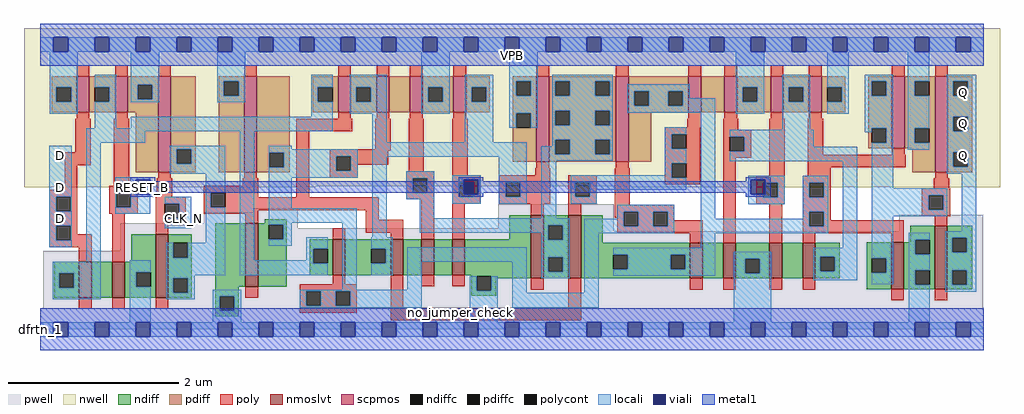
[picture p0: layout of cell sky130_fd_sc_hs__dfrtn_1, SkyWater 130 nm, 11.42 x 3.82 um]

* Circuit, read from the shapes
.subckt sky130_fd_sc_hs__dfrtn_1 CLK_N D RESET_B VGND VNB VPB VPWR Q
XM1 n1 D n2 VNB sky130_fd_pr__nfet_01v8_lvt w=0.42 l=0.15
XM2 VGND RESET_B n1 VNB sky130_fd_pr__nfet_01v8_lvt w=0.42 l=0.15
XM3 n3 CLK_N VGND VNB sky130_fd_pr__nfet_01v8_lvt w=0.74 l=0.15
XM4 n4 n3 VGND VNB sky130_fd_pr__nfet_01v8_lvt w=0.74 l=0.15
XM5 n5 n4 n2 VNB sky130_fd_pr__nfet_01v8_lvt w=0.42 l=0.15
XM6 n6 n3 n5 VNB sky130_fd_pr__nfet_01v8_lvt w=0.42 l=0.15
XM7 n7 n8 n6 VNB sky130_fd_pr__nfet_01v8_lvt w=0.42 l=0.15
XM8 VGND RESET_B n7 VNB sky130_fd_pr__nfet_01v8_lvt w=0.42 l=0.15
XM9 n8 n5 VGND VNB sky130_fd_pr__nfet_01v8_lvt w=0.74 l=0.15
XM10 n9 n3 n8 VNB sky130_fd_pr__nfet_01v8_lvt w=0.74 l=0.15
XM11 n10 n4 n9 VNB sky130_fd_pr__nfet_01v8_lvt w=0.42 l=0.15
XM12 VGND n11 n10 VNB sky130_fd_pr__nfet_01v8_lvt w=0.42 l=0.15
XM13 n12 RESET_B VGND VNB sky130_fd_pr__nfet_01v8_lvt w=0.42 l=0.15
XM14 n11 n9 n12 VNB sky130_fd_pr__nfet_01v8_lvt w=0.42 l=0.15
XM15 VGND n9 n13 VNB sky130_fd_pr__nfet_01v8_lvt w=0.55 l=0.15
XM16 Q n13 VGND VNB sky130_fd_pr__nfet_01v8_lvt w=0.74 l=0.15
XM17 n2 D VPWR VPB sky130_fd_pr__pfet_01v8 w=0.42 l=0.15
XM18 VPWR RESET_B n2 VPB sky130_fd_pr__pfet_01v8 w=0.42 l=0.15
XM19 n3 CLK_N VPWR VPB sky130_fd_pr__pfet_01v8 w=1.12 l=0.15
XM20 n4 n3 VPWR VPB sky130_fd_pr__pfet_01v8 w=1.12 l=0.15
XM21 n5 n3 n2 VPB sky130_fd_pr__pfet_01v8 w=0.42 l=0.15
XM22 n14 n4 n5 VPB sky130_fd_pr__pfet_01v8 w=0.42 l=0.15
XM23 VPWR n8 n14 VPB sky130_fd_pr__pfet_01v8 w=0.42 l=0.15
XM24 n5 RESET_B VPWR VPB sky130_fd_pr__pfet_01v8 w=0.42 l=0.15
XM25 n8 n5 VPWR VPB sky130_fd_pr__pfet_01v8 w=1 l=0.15
XM26 n9 n4 n8 VPB sky130_fd_pr__pfet_01v8 w=1 l=0.15
XM27 n15 n3 n9 VPB sky130_fd_pr__pfet_01v8 w=0.42 l=0.15
XM28 VPWR n11 n15 VPB sky130_fd_pr__pfet_01v8 w=0.42 l=0.15
XM29 n11 RESET_B VPWR VPB sky130_fd_pr__pfet_01v8 w=0.42 l=0.15
XM30 VPWR n9 n11 VPB sky130_fd_pr__pfet_01v8 w=0.42 l=0.15
XM31 VPWR n9 n13 VPB sky130_fd_pr__pfet_01v8 w=0.84 l=0.15
XM32 Q n13 VPWR VPB sky130_fd_pr__pfet_01v8 w=1.12 l=0.15
.ends

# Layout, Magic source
magic
tech sky130A
magscale 1 2
<< nwell >>
rect -38 335 2246 704
rect -38 332 645 335
rect 1384 332 2246 335
<< pwell >>
rect 499 274 603 283
rect 383 248 603 274
rect 187 237 603 248
rect 1072 237 1342 293
rect 187 229 1342 237
rect 2010 230 2207 268
rect 1908 229 2207 230
rect 187 184 2207 229
rect 7 49 2207 184
rect 0 0 2208 49
<< scpmos >>
rect 85 508 115 592
rect 175 508 205 592
rect 276 368 306 592
rect 477 368 507 592
rect 697 508 727 592
rect 787 508 817 592
rect 865 508 895 592
rect 967 508 997 592
rect 1161 392 1191 592
rect 1347 392 1377 592
rect 1517 508 1547 592
rect 1601 508 1631 592
rect 1709 508 1739 592
rect 1799 508 1829 592
rect 1993 424 2023 592
rect 2094 368 2124 592
<< nmoslvt >>
rect 90 74 120 158
rect 168 74 198 158
rect 270 74 300 222
rect 480 100 510 248
rect 684 127 714 211
rect 820 127 850 211
rect 892 127 922 211
rect 964 127 994 211
rect 1148 119 1178 267
rect 1236 119 1266 267
rect 1520 119 1550 203
rect 1598 119 1628 203
rect 1706 119 1736 203
rect 1784 119 1814 203
rect 1991 94 2021 204
rect 2093 94 2123 242
<< ndiff >>
rect 525 248 577 257
rect 213 158 270 222
rect 33 131 90 158
rect 33 97 45 131
rect 79 97 90 131
rect 33 74 90 97
rect 120 74 168 158
rect 198 133 270 158
rect 198 99 225 133
rect 259 99 270 133
rect 198 74 270 99
rect 300 202 355 222
rect 300 168 311 202
rect 345 168 355 202
rect 300 120 355 168
rect 300 86 311 120
rect 345 86 355 120
rect 300 74 355 86
rect 409 100 480 248
rect 510 245 577 248
rect 510 211 535 245
rect 569 211 577 245
rect 1098 211 1148 267
rect 510 100 577 211
rect 631 188 684 211
rect 631 154 639 188
rect 673 154 684 188
rect 631 127 684 154
rect 714 188 820 211
rect 714 154 775 188
rect 809 154 820 188
rect 714 127 820 154
rect 850 127 892 211
rect 922 127 964 211
rect 994 127 1148 211
rect 409 77 465 100
rect 409 43 420 77
rect 454 43 465 77
rect 409 31 465 43
rect 1009 124 1148 127
rect 1009 90 1021 124
rect 1055 119 1148 124
rect 1178 244 1236 267
rect 1178 210 1189 244
rect 1223 210 1236 244
rect 1178 169 1236 210
rect 1178 135 1189 169
rect 1223 135 1236 169
rect 1178 119 1236 135
rect 1266 203 1316 267
rect 2036 210 2093 242
rect 2036 204 2048 210
rect 1266 175 1520 203
rect 1266 141 1341 175
rect 1375 141 1475 175
rect 1509 141 1520 175
rect 1266 119 1520 141
rect 1550 119 1598 203
rect 1628 165 1706 203
rect 1628 131 1650 165
rect 1684 131 1706 165
rect 1628 119 1706 131
rect 1736 119 1784 203
rect 1814 170 1871 203
rect 1814 136 1825 170
rect 1859 136 1871 170
rect 1814 119 1871 136
rect 1934 166 1991 204
rect 1934 132 1946 166
rect 1980 132 1991 166
rect 1055 90 1067 119
rect 1009 78 1067 90
rect 1934 94 1991 132
rect 2021 176 2048 204
rect 2082 176 2093 210
rect 2021 138 2093 176
rect 2021 104 2048 138
rect 2082 104 2093 138
rect 2021 94 2093 104
rect 2123 214 2181 242
rect 2123 180 2134 214
rect 2168 180 2181 214
rect 2123 138 2181 180
rect 2123 104 2134 138
rect 2168 104 2181 138
rect 2123 94 2181 104
<< pdiff >>
rect 27 567 85 592
rect 27 533 38 567
rect 72 533 85 567
rect 27 508 85 533
rect 115 567 175 592
rect 115 533 128 567
rect 162 533 175 567
rect 115 508 175 533
rect 205 572 276 592
rect 205 538 228 572
rect 262 538 276 572
rect 205 508 276 538
rect 223 368 276 508
rect 306 421 364 592
rect 306 387 319 421
rect 353 387 364 421
rect 306 368 364 387
rect 418 581 477 592
rect 418 547 430 581
rect 464 547 477 581
rect 418 368 477 547
rect 507 413 584 592
rect 638 567 697 592
rect 638 533 650 567
rect 684 533 697 567
rect 638 508 697 533
rect 727 567 787 592
rect 727 533 740 567
rect 774 533 787 567
rect 727 508 787 533
rect 817 508 865 592
rect 895 567 967 592
rect 895 533 908 567
rect 942 533 967 567
rect 895 508 967 533
rect 997 567 1052 592
rect 997 533 1010 567
rect 1044 533 1052 567
rect 997 508 1052 533
rect 1106 580 1161 592
rect 1106 546 1114 580
rect 1148 546 1161 580
rect 1106 506 1161 546
rect 507 379 536 413
rect 570 379 584 413
rect 507 368 584 379
rect 1106 472 1114 506
rect 1148 472 1161 506
rect 1106 392 1161 472
rect 1191 580 1347 592
rect 1191 546 1205 580
rect 1239 546 1299 580
rect 1333 546 1347 580
rect 1191 512 1347 546
rect 1191 478 1205 512
rect 1239 478 1299 512
rect 1333 478 1347 512
rect 1191 444 1347 478
rect 1191 410 1205 444
rect 1239 410 1299 444
rect 1333 410 1347 444
rect 1191 392 1347 410
rect 1377 557 1517 592
rect 1377 523 1390 557
rect 1424 523 1470 557
rect 1504 523 1517 557
rect 1377 508 1517 523
rect 1547 508 1601 592
rect 1631 567 1709 592
rect 1631 533 1644 567
rect 1678 533 1709 567
rect 1631 508 1709 533
rect 1739 567 1799 592
rect 1739 533 1752 567
rect 1786 533 1799 567
rect 1739 508 1799 533
rect 1829 567 1884 592
rect 1829 533 1842 567
rect 1876 533 1884 567
rect 1829 508 1884 533
rect 1938 580 1993 592
rect 1938 546 1946 580
rect 1980 546 1993 580
rect 1377 392 1430 508
rect 1938 471 1993 546
rect 1938 437 1946 471
rect 1980 437 1993 471
rect 1938 424 1993 437
rect 2023 580 2094 592
rect 2023 546 2046 580
rect 2080 546 2094 580
rect 2023 470 2094 546
rect 2023 436 2046 470
rect 2080 436 2094 470
rect 2023 424 2094 436
rect 2041 368 2094 424
rect 2124 580 2181 592
rect 2124 546 2137 580
rect 2171 546 2181 580
rect 2124 497 2181 546
rect 2124 463 2137 497
rect 2171 463 2181 497
rect 2124 414 2181 463
rect 2124 380 2137 414
rect 2171 380 2181 414
rect 2124 368 2181 380
<< ndiffc >>
rect 45 97 79 131
rect 225 99 259 133
rect 311 168 345 202
rect 311 86 345 120
rect 535 211 569 245
rect 639 154 673 188
rect 775 154 809 188
rect 420 43 454 77
rect 1021 90 1055 124
rect 1189 210 1223 244
rect 1189 135 1223 169
rect 1341 141 1375 175
rect 1475 141 1509 175
rect 1650 131 1684 165
rect 1825 136 1859 170
rect 1946 132 1980 166
rect 2048 176 2082 210
rect 2048 104 2082 138
rect 2134 180 2168 214
rect 2134 104 2168 138
<< pdiffc >>
rect 38 533 72 567
rect 128 533 162 567
rect 228 538 262 572
rect 319 387 353 421
rect 430 547 464 581
rect 650 533 684 567
rect 740 533 774 567
rect 908 533 942 567
rect 1010 533 1044 567
rect 1114 546 1148 580
rect 536 379 570 413
rect 1114 472 1148 506
rect 1205 546 1239 580
rect 1299 546 1333 580
rect 1205 478 1239 512
rect 1299 478 1333 512
rect 1205 410 1239 444
rect 1299 410 1333 444
rect 1390 523 1424 557
rect 1470 523 1504 557
rect 1644 533 1678 567
rect 1752 533 1786 567
rect 1842 533 1876 567
rect 1946 546 1980 580
rect 1946 437 1980 471
rect 2046 546 2080 580
rect 2046 436 2080 470
rect 2137 546 2171 580
rect 2137 463 2171 497
rect 2137 380 2171 414
<< poly >>
rect 85 592 115 618
rect 175 592 205 618
rect 276 592 306 618
rect 477 592 507 618
rect 697 592 727 618
rect 787 592 817 618
rect 865 592 895 618
rect 967 592 997 618
rect 1161 592 1191 618
rect 1347 592 1377 618
rect 1517 592 1547 618
rect 1601 592 1631 618
rect 1709 592 1739 618
rect 1799 592 1829 618
rect 1993 592 2023 618
rect 2094 592 2124 618
rect 85 493 115 508
rect 175 493 205 508
rect 82 414 118 493
rect 57 384 118 414
rect 57 326 87 384
rect 172 336 208 493
rect 697 493 727 508
rect 787 493 817 508
rect 865 493 895 508
rect 967 493 997 508
rect 599 463 730 493
rect 276 353 306 368
rect 477 353 507 368
rect 21 310 87 326
rect 21 276 37 310
rect 71 276 87 310
rect 21 242 87 276
rect 162 320 228 336
rect 162 286 178 320
rect 212 286 228 320
rect 273 310 309 353
rect 474 336 510 353
rect 383 320 510 336
rect 162 270 228 286
rect 270 294 341 310
rect 21 208 37 242
rect 71 222 87 242
rect 71 208 120 222
rect 21 192 120 208
rect 90 158 120 192
rect 168 158 198 270
rect 270 260 291 294
rect 325 260 341 294
rect 383 286 399 320
rect 433 309 510 320
rect 599 309 629 463
rect 784 421 820 493
rect 677 418 820 421
rect 677 405 814 418
rect 677 371 693 405
rect 727 385 814 405
rect 727 371 743 385
rect 677 355 743 371
rect 862 370 898 493
rect 856 354 922 370
rect 856 320 872 354
rect 906 320 922 354
rect 433 286 792 309
rect 856 304 922 320
rect 383 279 792 286
rect 383 270 510 279
rect 270 244 341 260
rect 480 248 510 270
rect 270 222 300 244
rect 762 256 792 279
rect 684 211 714 237
rect 762 226 850 256
rect 820 211 850 226
rect 892 211 922 304
rect 964 360 1000 493
rect 1517 493 1547 508
rect 1601 493 1631 508
rect 1709 493 1739 508
rect 1799 493 1829 508
rect 1514 473 1547 493
rect 1462 457 1544 473
rect 1462 423 1478 457
rect 1512 423 1544 457
rect 1161 377 1191 392
rect 1347 377 1377 392
rect 1462 389 1544 423
rect 1158 360 1194 377
rect 964 344 1030 360
rect 964 310 980 344
rect 1014 310 1030 344
rect 964 294 1030 310
rect 1073 344 1194 360
rect 1073 310 1089 344
rect 1123 310 1194 344
rect 1073 294 1194 310
rect 1236 344 1302 360
rect 1236 310 1252 344
rect 1286 310 1302 344
rect 1236 294 1302 310
rect 964 211 994 294
rect 1148 267 1178 294
rect 1236 267 1266 294
rect 1344 291 1380 377
rect 1462 355 1478 389
rect 1512 355 1544 389
rect 1462 339 1544 355
rect 1598 467 1634 493
rect 1598 451 1664 467
rect 1598 417 1614 451
rect 1648 417 1664 451
rect 1598 401 1664 417
rect 1344 275 1484 291
rect 684 105 714 127
rect 90 48 120 74
rect 168 48 198 74
rect 270 48 300 74
rect 480 74 510 100
rect 607 89 741 105
rect 607 55 623 89
rect 657 55 691 89
rect 725 55 741 89
rect 607 39 741 55
rect 820 51 850 127
rect 892 101 922 127
rect 964 101 994 127
rect 1344 261 1366 275
rect 1350 241 1366 261
rect 1400 241 1434 275
rect 1468 255 1484 275
rect 1468 241 1550 255
rect 1350 225 1550 241
rect 1520 203 1550 225
rect 1598 203 1628 401
rect 1706 359 1742 493
rect 1796 409 1832 493
rect 1993 409 2023 424
rect 1796 379 2026 409
rect 1796 359 1850 379
rect 1676 343 1742 359
rect 1676 309 1692 343
rect 1726 309 1742 343
rect 1676 293 1742 309
rect 1784 343 1850 359
rect 2094 353 2124 368
rect 1784 309 1800 343
rect 1834 309 1850 343
rect 2091 330 2127 353
rect 1706 203 1736 293
rect 1784 275 1850 309
rect 1784 241 1800 275
rect 1834 255 1850 275
rect 2063 314 2129 330
rect 2063 280 2079 314
rect 2113 280 2129 314
rect 2063 264 2129 280
rect 1834 241 2021 255
rect 2093 242 2123 264
rect 1784 225 2021 241
rect 1784 203 1814 225
rect 1991 204 2021 225
rect 1148 93 1178 119
rect 1236 51 1266 119
rect 1520 93 1550 119
rect 1598 93 1628 119
rect 1706 93 1736 119
rect 1784 93 1814 119
rect 1991 68 2021 94
rect 2093 68 2123 94
rect 820 21 1266 51
<< polycont >>
rect 37 276 71 310
rect 178 286 212 320
rect 37 208 71 242
rect 291 260 325 294
rect 399 286 433 320
rect 693 371 727 405
rect 872 320 906 354
rect 1478 423 1512 457
rect 980 310 1014 344
rect 1089 310 1123 344
rect 1252 310 1286 344
rect 1478 355 1512 389
rect 1614 417 1648 451
rect 623 55 657 89
rect 691 55 725 89
rect 1366 241 1400 275
rect 1434 241 1468 275
rect 1692 309 1726 343
rect 1800 309 1834 343
rect 1800 241 1834 275
rect 2079 280 2113 314
<< locali >>
rect 0 649 31 683
rect 65 649 127 683
rect 161 649 223 683
rect 257 649 319 683
rect 353 649 415 683
rect 449 649 511 683
rect 545 649 607 683
rect 641 649 703 683
rect 737 649 799 683
rect 833 649 895 683
rect 929 649 991 683
rect 1025 649 1087 683
rect 1121 649 1183 683
rect 1217 649 1279 683
rect 1313 649 1375 683
rect 1409 649 1471 683
rect 1505 649 1567 683
rect 1601 649 1663 683
rect 1697 649 1759 683
rect 1793 649 1855 683
rect 1889 649 1951 683
rect 1985 649 2047 683
rect 2081 649 2143 683
rect 2177 649 2208 683
rect 22 567 88 649
rect 22 533 38 567
rect 72 533 88 567
rect 22 504 88 533
rect 128 567 178 596
rect 162 533 178 567
rect 128 470 178 533
rect 212 572 278 649
rect 212 538 228 572
rect 262 538 278 572
rect 212 531 278 538
rect 414 581 480 649
rect 414 547 430 581
rect 464 547 480 581
rect 414 531 480 547
rect 634 567 684 596
rect 634 533 650 567
rect 634 497 684 533
rect 724 567 811 596
rect 724 533 740 567
rect 774 533 811 567
rect 724 504 811 533
rect 892 567 958 649
rect 892 533 908 567
rect 942 533 958 567
rect 892 504 958 533
rect 994 567 1060 596
rect 994 533 1010 567
rect 1044 533 1060 567
rect 212 470 684 497
rect 108 463 684 470
rect 108 436 246 463
rect 21 310 74 430
rect 21 276 37 310
rect 71 276 74 310
rect 21 242 74 276
rect 21 208 37 242
rect 71 208 74 242
rect 21 192 74 208
rect 108 158 142 436
rect 303 421 433 429
rect 303 387 319 421
rect 353 387 433 421
rect 303 364 433 387
rect 176 350 257 356
rect 176 320 223 350
rect 176 286 178 320
rect 212 316 223 320
rect 212 286 257 316
rect 387 320 433 364
rect 176 270 257 286
rect 291 294 353 310
rect 325 260 353 294
rect 291 236 353 260
rect 387 286 399 320
rect 387 202 433 286
rect 295 168 311 202
rect 345 168 433 202
rect 29 131 142 158
rect 29 97 45 131
rect 79 97 142 131
rect 29 70 142 97
rect 209 133 259 162
rect 209 99 225 133
rect 209 17 259 99
rect 295 127 433 168
rect 467 161 501 463
rect 777 438 811 504
rect 994 438 1060 533
rect 1098 580 1164 649
rect 1098 546 1114 580
rect 1148 546 1164 580
rect 1098 506 1164 546
rect 1098 472 1114 506
rect 1148 472 1164 506
rect 1198 580 1340 596
rect 1198 546 1205 580
rect 1239 546 1299 580
rect 1333 546 1340 580
rect 1198 512 1340 546
rect 1198 478 1205 512
rect 1239 478 1299 512
rect 1333 478 1340 512
rect 1374 557 1520 573
rect 1374 523 1390 557
rect 1424 523 1470 557
rect 1504 541 1520 557
rect 1628 567 1694 649
rect 1504 523 1580 541
rect 1374 507 1580 523
rect 1198 444 1340 478
rect 535 421 588 429
rect 535 413 743 421
rect 535 379 536 413
rect 570 405 743 413
rect 570 379 693 405
rect 535 371 693 379
rect 727 371 743 405
rect 535 355 743 371
rect 777 404 1139 438
rect 1198 428 1205 444
rect 535 283 588 355
rect 535 249 741 283
rect 535 245 588 249
rect 569 211 588 245
rect 535 195 588 211
rect 623 188 673 215
rect 623 161 639 188
rect 467 154 639 161
rect 467 127 673 154
rect 295 120 361 127
rect 295 86 311 120
rect 345 86 361 120
rect 707 93 741 249
rect 777 215 811 404
rect 856 354 922 370
rect 856 320 872 354
rect 906 320 922 354
rect 856 304 922 320
rect 888 260 922 304
rect 964 350 1031 360
rect 964 344 991 350
rect 964 310 980 344
rect 1025 316 1031 350
rect 1014 310 1031 316
rect 964 294 1031 310
rect 1073 344 1139 404
rect 1073 310 1089 344
rect 1123 310 1139 344
rect 1073 294 1139 310
rect 1173 410 1205 428
rect 1239 410 1299 444
rect 1333 410 1340 444
rect 1173 394 1340 410
rect 1462 457 1512 473
rect 1462 423 1478 457
rect 1173 260 1207 394
rect 1462 389 1512 423
rect 1462 360 1478 389
rect 1241 355 1478 360
rect 1241 344 1512 355
rect 1241 310 1252 344
rect 1286 326 1512 344
rect 1286 310 1302 326
rect 1241 294 1302 310
rect 1350 275 1484 291
rect 888 244 1239 260
rect 1350 259 1366 275
rect 888 226 1189 244
rect 775 188 825 215
rect 1173 210 1189 226
rect 1223 210 1239 244
rect 809 154 825 188
rect 775 127 825 154
rect 859 158 1139 192
rect 859 93 893 158
rect 295 70 361 86
rect 404 77 470 93
rect 404 43 420 77
rect 454 43 470 77
rect 607 89 893 93
rect 607 55 623 89
rect 657 55 691 89
rect 725 55 893 89
rect 607 51 893 55
rect 1005 90 1021 124
rect 1055 90 1071 124
rect 404 17 470 43
rect 1005 17 1071 90
rect 1105 85 1139 158
rect 1173 169 1239 210
rect 1173 135 1189 169
rect 1223 135 1239 169
rect 1173 119 1239 135
rect 1273 241 1366 259
rect 1400 241 1434 275
rect 1468 241 1484 275
rect 1273 225 1484 241
rect 1546 259 1580 507
rect 1628 533 1644 567
rect 1678 533 1694 567
rect 1628 504 1694 533
rect 1736 567 1802 596
rect 1736 533 1752 567
rect 1786 533 1802 567
rect 1736 467 1802 533
rect 1842 567 1892 649
rect 1876 533 1892 567
rect 1842 504 1892 533
rect 1930 580 1996 596
rect 1930 546 1946 580
rect 1980 546 1996 580
rect 1930 471 1996 546
rect 1614 451 1810 467
rect 1930 461 1946 471
rect 1648 427 1810 451
rect 1980 437 1996 471
rect 1648 417 1912 427
rect 1614 393 1912 417
rect 1657 350 1742 359
rect 1657 316 1663 350
rect 1697 343 1742 350
rect 1657 309 1692 316
rect 1726 309 1742 343
rect 1657 293 1742 309
rect 1784 343 1844 359
rect 1784 309 1800 343
rect 1834 309 1844 343
rect 1784 275 1844 309
rect 1784 259 1800 275
rect 1546 241 1800 259
rect 1834 241 1844 275
rect 1546 225 1844 241
rect 1273 85 1307 225
rect 1546 191 1580 225
rect 1878 191 1912 393
rect 1341 175 1580 191
rect 1375 141 1475 175
rect 1509 141 1580 175
rect 1341 125 1580 141
rect 1623 165 1711 181
rect 1623 131 1650 165
rect 1684 131 1711 165
rect 1105 51 1307 85
rect 1623 17 1711 131
rect 1809 170 1912 191
rect 1809 136 1825 170
rect 1859 136 1912 170
rect 1809 115 1912 136
rect 1946 330 1996 437
rect 2030 580 2080 649
rect 2030 546 2046 580
rect 2030 470 2080 546
rect 2030 436 2046 470
rect 2030 420 2080 436
rect 2121 580 2191 596
rect 2121 546 2137 580
rect 2171 546 2191 580
rect 2121 497 2191 546
rect 2121 463 2137 497
rect 2171 463 2191 497
rect 2121 414 2191 463
rect 2121 380 2137 414
rect 2171 380 2191 414
rect 2121 364 2191 380
rect 1946 314 2123 330
rect 1946 280 2079 314
rect 2113 280 2123 314
rect 1946 264 2123 280
rect 1946 166 1996 264
rect 2157 230 2191 364
rect 1980 132 1996 166
rect 1946 106 1996 132
rect 2032 210 2082 226
rect 2032 176 2048 210
rect 2032 138 2082 176
rect 2032 104 2048 138
rect 2032 17 2082 104
rect 2118 214 2191 230
rect 2118 180 2134 214
rect 2168 180 2191 214
rect 2118 138 2191 180
rect 2118 104 2134 138
rect 2168 104 2191 138
rect 2118 88 2191 104
rect 0 -17 31 17
rect 65 -17 127 17
rect 161 -17 223 17
rect 257 -17 319 17
rect 353 -17 415 17
rect 449 -17 511 17
rect 545 -17 607 17
rect 641 -17 703 17
rect 737 -17 799 17
rect 833 -17 895 17
rect 929 -17 991 17
rect 1025 -17 1087 17
rect 1121 -17 1183 17
rect 1217 -17 1279 17
rect 1313 -17 1375 17
rect 1409 -17 1471 17
rect 1505 -17 1567 17
rect 1601 -17 1663 17
rect 1697 -17 1759 17
rect 1793 -17 1855 17
rect 1889 -17 1951 17
rect 1985 -17 2047 17
rect 2081 -17 2143 17
rect 2177 -17 2208 17
<< viali >>
rect 31 649 65 683
rect 127 649 161 683
rect 223 649 257 683
rect 319 649 353 683
rect 415 649 449 683
rect 511 649 545 683
rect 607 649 641 683
rect 703 649 737 683
rect 799 649 833 683
rect 895 649 929 683
rect 991 649 1025 683
rect 1087 649 1121 683
rect 1183 649 1217 683
rect 1279 649 1313 683
rect 1375 649 1409 683
rect 1471 649 1505 683
rect 1567 649 1601 683
rect 1663 649 1697 683
rect 1759 649 1793 683
rect 1855 649 1889 683
rect 1951 649 1985 683
rect 2047 649 2081 683
rect 2143 649 2177 683
rect 223 316 257 350
rect 991 344 1025 350
rect 991 316 1014 344
rect 1014 316 1025 344
rect 1663 343 1697 350
rect 1663 316 1692 343
rect 1692 316 1697 343
rect 31 -17 65 17
rect 127 -17 161 17
rect 223 -17 257 17
rect 319 -17 353 17
rect 415 -17 449 17
rect 511 -17 545 17
rect 607 -17 641 17
rect 703 -17 737 17
rect 799 -17 833 17
rect 895 -17 929 17
rect 991 -17 1025 17
rect 1087 -17 1121 17
rect 1183 -17 1217 17
rect 1279 -17 1313 17
rect 1375 -17 1409 17
rect 1471 -17 1505 17
rect 1567 -17 1601 17
rect 1663 -17 1697 17
rect 1759 -17 1793 17
rect 1855 -17 1889 17
rect 1951 -17 1985 17
rect 2047 -17 2081 17
rect 2143 -17 2177 17
<< metal1 >>
rect 0 683 2208 715
rect 0 649 31 683
rect 65 649 127 683
rect 161 649 223 683
rect 257 649 319 683
rect 353 649 415 683
rect 449 649 511 683
rect 545 649 607 683
rect 641 649 703 683
rect 737 649 799 683
rect 833 649 895 683
rect 929 649 991 683
rect 1025 649 1087 683
rect 1121 649 1183 683
rect 1217 649 1279 683
rect 1313 649 1375 683
rect 1409 649 1471 683
rect 1505 649 1567 683
rect 1601 649 1663 683
rect 1697 649 1759 683
rect 1793 649 1855 683
rect 1889 649 1951 683
rect 1985 649 2047 683
rect 2081 649 2143 683
rect 2177 649 2208 683
rect 0 617 2208 649
rect 211 350 269 356
rect 211 316 223 350
rect 257 347 269 350
rect 979 350 1037 356
rect 979 347 991 350
rect 257 319 991 347
rect 257 316 269 319
rect 211 310 269 316
rect 979 316 991 319
rect 1025 347 1037 350
rect 1651 350 1709 356
rect 1651 347 1663 350
rect 1025 319 1663 347
rect 1025 316 1037 319
rect 979 310 1037 316
rect 1651 316 1663 319
rect 1697 316 1709 350
rect 1651 310 1709 316
rect 0 17 2208 49
rect 0 -17 31 17
rect 65 -17 127 17
rect 161 -17 223 17
rect 257 -17 319 17
rect 353 -17 415 17
rect 449 -17 511 17
rect 545 -17 607 17
rect 641 -17 703 17
rect 737 -17 799 17
rect 833 -17 895 17
rect 929 -17 991 17
rect 1025 -17 1087 17
rect 1121 -17 1183 17
rect 1217 -17 1279 17
rect 1313 -17 1375 17
rect 1409 -17 1471 17
rect 1505 -17 1567 17
rect 1601 -17 1663 17
rect 1697 -17 1759 17
rect 1793 -17 1855 17
rect 1889 -17 1951 17
rect 1985 -17 2047 17
rect 2081 -17 2143 17
rect 2177 -17 2208 17
rect 0 -49 2208 -17
<< labels >>
rlabel comment s 0 0 0 0 4 dfrtn_1
flabel comment s 983 39 983 39 0 FreeSans 200 0 0 0 no_jumper_check
flabel pwell s 0 0 2208 49 0 FreeSans 200 0 0 0 VNB
port 5 nsew ground bidirectional
flabel nwell s 0 617 2208 666 0 FreeSans 200 0 0 0 VPB
port 6 nsew power bidirectional
flabel metal1 s 223 316 257 350 0 FreeSans 340 0 0 0 RESET_B
port 3 nsew signal input
flabel metal1 s 0 617 2208 666 0 FreeSans 340 0 0 0 VPWR
port 7 nsew power bidirectional
flabel metal1 s 0 0 2208 49 0 FreeSans 340 0 0 0 VGND
port 4 nsew ground bidirectional
flabel locali s 319 242 353 276 0 FreeSans 340 0 0 0 CLK_N
port 1 nsew clock input
flabel locali s 2143 390 2177 424 0 FreeSans 340 0 0 0 Q
port 8 nsew signal output
flabel locali s 2143 464 2177 498 0 FreeSans 340 0 0 0 Q
port 8 nsew signal output
flabel locali s 2143 538 2177 572 0 FreeSans 340 0 0 0 Q
port 8 nsew signal output
flabel locali s 31 242 65 276 0 FreeSans 340 0 0 0 D
port 2 nsew signal input
flabel locali s 31 316 65 350 0 FreeSans 340 0 0 0 D
port 2 nsew signal input
flabel locali s 31 390 65 424 0 FreeSans 340 0 0 0 D
port 2 nsew signal input
<< properties >>
string LEFsite unit
string LEFclass CORE
string FIXED_BBOX 0 0 2208 666
string GDS_FILE $PDKPATH/libs.ref/sky130_fd_sc_hs/gds/sky130_fd_sc_hs.gds
string LEFsymmetry X Y R90
string GDS_END 3437588
string GDS_START 3420864
<< end >>
